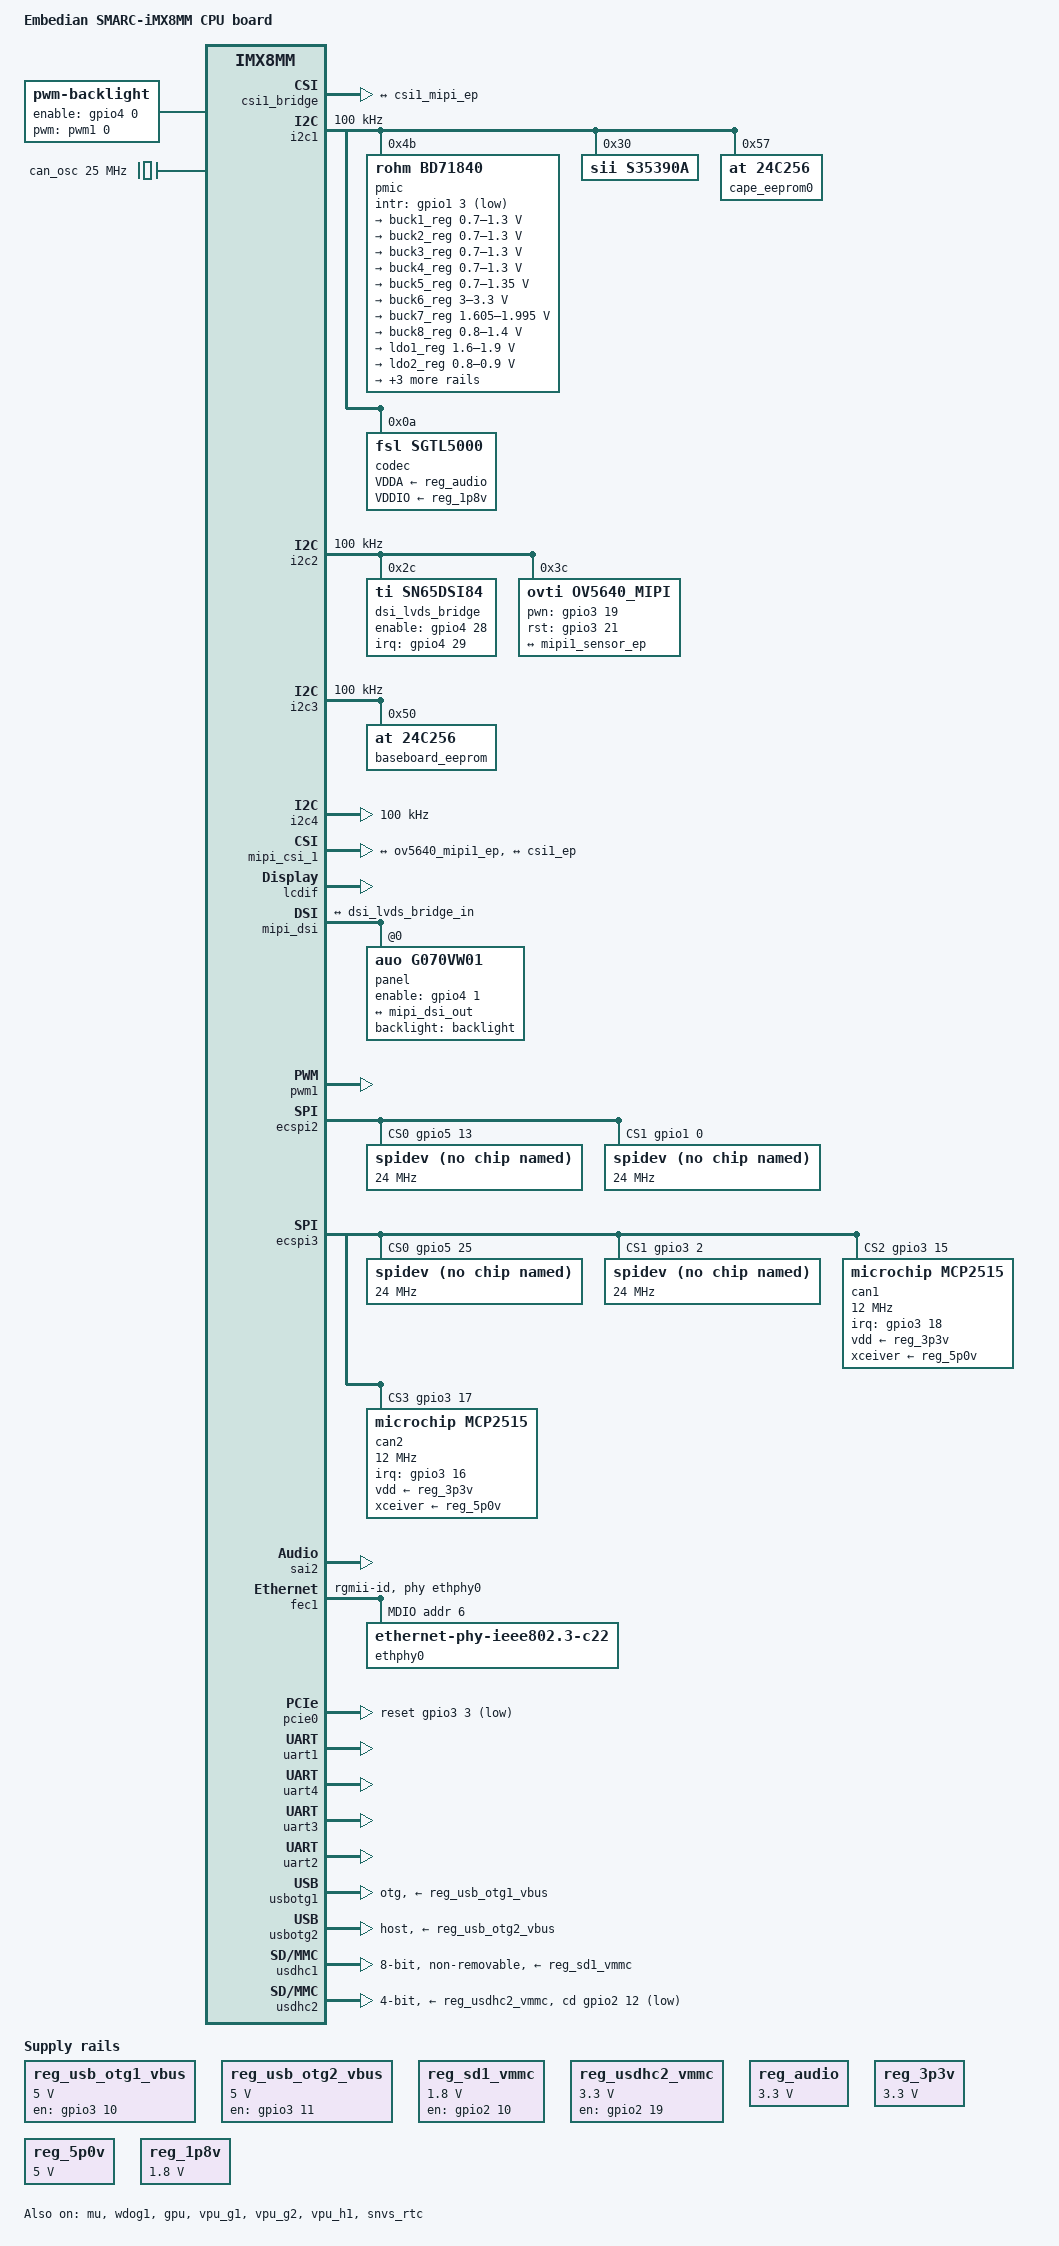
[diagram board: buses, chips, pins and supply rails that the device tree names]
/*
 * Copyright 2018 NXP
 *
 * This program is free software; you can redistribute it and/or
 * modify it under the terms of the GNU General Public License
 * as published by the Free Software Foundation; either version 2
 * of the License, or (at your option) any later version.
 *
 * This program is distributed in the hope that it will be useful,
 * but WITHOUT ANY WARRANTY; without even the implied warranty of
 * MERCHANTABILITY or FITNESS FOR A PARTICULAR PURPOSE.  See the
 * GNU General Public License for more details.
 */

/dts-v1/;

#include "../freescale/fsl-imx8mm.dtsi"

/ {
        firmware {
                android {
                        compatible = "android,firmware";
                        fstab {
                                compatible = "android,fstab";
                                vendor {
                                        compatible = "android,vendor";
                                        /* sd card node which used if androidboot.storage_type=sd */
                                        dev_sd = "/dev/block/platform/30b50000.mmc/by-name/vendor";
                                        /* emmc node which used if androidboot.storage_type=emmc */
                                        dev_emmc = "/dev/block/platform/30b60000.mmc/by-name/vendor";
                                        type = "ext4";
                                        mnt_flags = "ro,barrier=1,inode_readahead_blks=8";
                                        fsmgr_flags = "wait,slotselect,avb";
                                };
                        };
                        vbmeta {
                                /*we need use FirstStageMountVBootV2 if we enable avb*/
                                compatible = "android,vbmeta";
                                /*parts means the partition witch can be mount in first stage*/
                                parts = "vbmeta,boot,system,vendor";
                        };
                };
        };
};

/ {
	model = "Embedian SMARC-iMX8MM CPU board";
	compatible = "embedian,imx8mm-smarcimx8mm", "fsl,imx8mm";

	regulators {
		compatible = "simple-bus";
		#address-cells = <1>;
		#size-cells = <0>;

                reg_usb_otg1_vbus: usbotg1_regulator {
                        compatible = "regulator-fixed";
                        reg = <0>;
                        regulator-name = "usb_otg1_vbus";
                        regulator-min-microvolt = <5000000>;
                        regulator-max-microvolt = <5000000>;
                        gpio = <&gpio3 10 GPIO_ACTIVE_HIGH>;
                        enable-active-high;
                };

                reg_usb_otg2_vbus: usbotg2_regulator {
                        compatible = "regulator-fixed";
                        reg = <1>;
                        regulator-name = "usb_otg2_vbus";
                        regulator-min-microvolt = <5000000>;
                        regulator-max-microvolt = <5000000>;
                        gpio = <&gpio3 11 GPIO_ACTIVE_HIGH>;
                        enable-active-high;
                };

		reg_sd1_vmmc: sd1_regulator {
			compatible = "regulator-fixed";
			regulator-name = "VEMMC_1V8";
			regulator-min-microvolt = <1800000>;
			regulator-max-microvolt = <1800000>;
			gpio = <&gpio2 10 GPIO_ACTIVE_HIGH>;
			off-on-delay = <20000>;
			startup-delay-us = <100>;
			enable-active-high;
		};

		reg_usdhc2_vmmc: regulator-usdhc2 {
			compatible = "regulator-fixed";
			regulator-name = "VSD_3V3";
			regulator-min-microvolt = <3300000>;
			regulator-max-microvolt = <3300000>;
			gpio = <&gpio2 19 GPIO_ACTIVE_HIGH>;
			off-on-delay = <20000>;
			enable-active-high;
		};

		reg_audio: audio_vdd {
			compatible = "regulator-fixed";
			regulator-name = "sgtl5000_supply";
			regulator-min-microvolt = <3300000>;
			regulator-max-microvolt = <3300000>;
                        regulator-always-on;
		};

               reg_3p3v: 3p3v {
                        compatible = "regulator-fixed";
                        regulator-name = "3P3V";
                        regulator-min-microvolt = <3300000>;
                        regulator-max-microvolt = <3300000>;
                        regulator-always-on;
                };

                reg_5p0v: 5p0v {
                        compatible = "regulator-fixed";
                        regulator-name = "5P0V";
                        regulator-min-microvolt = <5000000>;
                        regulator-max-microvolt = <5000000>;
                        regulator-always-on;
                };

                reg_1p8v: 1p8v {
                        compatible = "regulator-fixed";
                        regulator-name = "1P8V";
                        regulator-min-microvolt = <1800000>;
                        regulator-max-microvolt = <1800000>;
                        regulator-always-on;
                };
	};

       	reserved-memory {
                /* cma region is provided by kernel command line as cma=<size>M */
               	/delete-node/ linux,cma;

                /delete-node/ rpmsg@0xb8000000;
                rpmsg_reserved: rpmsg@0x40000000 {
                        no-map;
                        reg = <0 0x40000000 0 0x400000>;
                };
        };

       	sound-sgtl5000 {
                compatible = "fsl,imx-audio-sgtl5000",
                             "smarc,imx8mq-audio-sgtl5000";
                model = "imx8mq-audio-sgtl5000";
                ssi-controller = <&sai2>;
                audio-codec = <&codec>;
                audio-routing =
                        "MIC_IN", "Mic Jack",
                        "Mic Jack", "Mic Bias",
                        "Headphone Jack", "HP_OUT";
                fsl,no-audmux;
        };

        backlight: backlight {
                compatible = "pwm-backlight";
                enable-gpios = <&gpio4 0 0>;    /* Backlight Enable */
                pwms = <&pwm1 0 1000000 0>;
                brightness-levels = < 0  1  2  3  4  5  6  7  8  9
                                     10 11 12 13 14 15 16 17 18 19
                                     20 21 22 23 24 25 26 27 28 29
                                     30 31 32 33 34 35 36 37 38 39
                                     40 41 42 43 44 45 46 47 48 49
                                     50 51 52 53 54 55 56 57 58 59
                                     60 61 62 63 64 65 66 67 68 69
                                     70 71 72 73 74 75 76 77 78 79
                                     80 81 82 83 84 85 86 87 88 89
                                     90 91 92 93 94 95 96 97 98 99
                                    100>;
                default-brightness-level = <80>;
                status = "okay";
        };

        /* external oscillator of mcp2515 on SPI1.2 and SPI1.3 */
        can_osc: can_osc {
                compatible = "fixed-clock";
                #clock-cells = <0>;
                clock-frequency  = <25000000>;
        };
};

&clk {
	assigned-clocks = <&clk IMX8MM_AUDIO_PLL1>, <&clk IMX8MM_AUDIO_PLL2>;
	assigned-clock-rates = <786432000>, <722534400>;
};

&iomuxc {
	pinctrl-names = "default";
        pinctrl-0 = <&pinctrl_hog>;

	smarcimx8mm {
                pinctrl_hog: hoggrp {
                        fsl,pins = <
                                MX8MM_IOMUXC_NAND_DATA06_GPIO3_IO12            	0x19    /*RESET_OUT#*/
                                MX8MM_IOMUXC_NAND_CE3_B_GPIO3_IO4              	0x41    /*FEC_IRQ#*/
                                MX8MM_IOMUXC_NAND_CLE_GPIO3_IO5                 0x41    /*PCIE_WAKE#*/
                                MX8MM_IOMUXC_GPIO1_IO09_GPIO1_IO9               0x41    /*LID#*/
                                MX8MM_IOMUXC_GPIO1_IO13_GPIO1_IO13             	0x41    /*SLEEP#*/
                                MX8MM_IOMUXC_GPIO1_IO01_GPIO1_IO1               0x41    /*CHARGING#*/
                                MX8MM_IOMUXC_GPIO1_IO12_GPIO1_IO12             	0x41    /*CHARGER_PRSNT#*/
                                MX8MM_IOMUXC_SAI3_MCLK_GPIO5_IO2                0x19    /*CARRIER_STBY#*/
                                MX8MM_IOMUXC_GPIO1_IO08_GPIO1_IO8              	0x41    /*BATLOW#*/
                                MX8MM_IOMUXC_NAND_DATA04_GPIO3_IO10             0x41    /*USB0_EN_OC#*/
                                MX8MM_IOMUXC_NAND_DATA05_GPIO3_IO11             0x41    /*USB1_EN_OC#*/
                        >;
                };

                pinctrl_csi1: csi1grp {
                        fsl,pins = <
                                MX8MM_IOMUXC_SAI5_RXFS_GPIO3_IO19               0x19    /*GPIO1*/
                                MX8MM_IOMUXC_SAI5_RXD0_GPIO3_IO21               0x19    /*GPIO3*/
                        >;
                };

		pinctrl_fec1: fec1grp {
			fsl,pins = <
				MX8MM_IOMUXC_ENET_MDC_ENET1_MDC			0x3
				MX8MM_IOMUXC_ENET_MDIO_ENET1_MDIO		0x3
				MX8MM_IOMUXC_ENET_TD3_ENET1_RGMII_TD3		0x1f
				MX8MM_IOMUXC_ENET_TD2_ENET1_RGMII_TD2		0x1f
				MX8MM_IOMUXC_ENET_TD1_ENET1_RGMII_TD1		0x1f
				MX8MM_IOMUXC_ENET_TD0_ENET1_RGMII_TD0		0x1f
				MX8MM_IOMUXC_ENET_RD3_ENET1_RGMII_RD3		0x91
				MX8MM_IOMUXC_ENET_RD2_ENET1_RGMII_RD2		0x91
				MX8MM_IOMUXC_ENET_RD1_ENET1_RGMII_RD1		0x91
				MX8MM_IOMUXC_ENET_RD0_ENET1_RGMII_RD0		0x91
				MX8MM_IOMUXC_ENET_TXC_ENET1_RGMII_TXC		0x1f
				MX8MM_IOMUXC_ENET_RXC_ENET1_RGMII_RXC		0x91
				MX8MM_IOMUXC_ENET_RX_CTL_ENET1_RGMII_RX_CTL	0x91
				MX8MM_IOMUXC_ENET_TX_CTL_ENET1_RGMII_TX_CTL	0x1f
			>;
		};

		pinctrl_flexspi0: flexspi0grp {
			fsl,pins = <
				MX8MM_IOMUXC_NAND_ALE_QSPI_A_SCLK	0x1c2
				MX8MM_IOMUXC_NAND_CE0_B_QSPI_A_SS0_B	0x82
				MX8MM_IOMUXC_NAND_DATA00_QSPI_A_DATA0	0x82
				MX8MM_IOMUXC_NAND_DATA01_QSPI_A_DATA1	0x82
				MX8MM_IOMUXC_NAND_DATA02_QSPI_A_DATA2	0x82
				MX8MM_IOMUXC_NAND_DATA03_QSPI_A_DATA3	0x82
			>;
		};

                pinctrl_usbotg1: usbotg1 {
                        fsl,pins = <
                                MX8MM_IOMUXC_GPIO1_IO10_USB1_OTG_ID     0x41
                        >;
                };

                pinctrl_usbotg2: usbotg2 {
                        fsl,pins = <
                                MX8MM_IOMUXC_GPIO1_IO11_USB2_OTG_ID     0x41
                        >;
                };

		pinctrl_i2c1: i2c1grp {
			fsl,pins = <
				MX8MM_IOMUXC_I2C1_SCL_I2C1_SCL		0x400001c3
				MX8MM_IOMUXC_I2C1_SDA_I2C1_SDA		0x400001c3
			>;
		};

		pinctrl_i2c2: i2c2grp {
			fsl,pins = <
				MX8MM_IOMUXC_I2C2_SCL_I2C2_SCL		0x400001c3
				MX8MM_IOMUXC_I2C2_SDA_I2C2_SDA		0x400001c3
			>;
		};

		pinctrl_i2c3: i2c3grp {
			fsl,pins = <
				MX8MM_IOMUXC_I2C3_SCL_I2C3_SCL		0x400001c3
				MX8MM_IOMUXC_I2C3_SDA_I2C3_SDA		0x400001c3
			>;
		};

                pinctrl_i2c4: i2c4grp {
                        fsl,pins = <
                                MX8MM_IOMUXC_I2C4_SCL_I2C4_SCL      	0x400001c3
                                MX8MM_IOMUXC_I2C4_SDA_I2C4_SDA         	0x400001c3
                        >;
                };

		pinctrl_pcie0: pcie0grp {
			fsl,pins = <
				MX8MM_IOMUXC_NAND_CE2_B_GPIO3_IO3	0x41
			>;
		};

		pinctrl_pmic: pmicirq {
			fsl,pins = <
				MX8MM_IOMUXC_GPIO1_IO03_GPIO1_IO3	0x41
			>;
		};

		pinctrl_typec1: typec1grp {
			fsl,pins = <
				MX8MM_IOMUXC_SD1_STROBE_GPIO2_IO11	0x159
			>;
		};

		pinctrl_typec2: typec2grp {
			fsl,pins = <
				MX8MM_IOMUXC_SD2_CD_B_GPIO2_IO12	0x159
			>;
		};

                pinctrl_pwm1: pwm1grp {
                        fsl,pins = <
                                MX8MM_IOMUXC_SPDIF_EXT_CLK_PWM1_OUT    	0x06
                        >;
                };

		pinctrl_sai1: sai1grp {
			fsl,pins = <
				MX8MM_IOMUXC_SAI1_MCLK_SAI1_MCLK	0xd6
				MX8MM_IOMUXC_SAI1_TXFS_SAI1_TX_SYNC	0xd6
				MX8MM_IOMUXC_SAI1_RXD7_SAI1_TX_SYNC	0xd6
				MX8MM_IOMUXC_SAI1_TXC_SAI1_TX_BCLK	0xd6
				MX8MM_IOMUXC_SAI1_TXD0_SAI1_TX_DATA0	0xd6
				MX8MM_IOMUXC_SAI1_TXD1_SAI1_TX_DATA1	0xd6
				MX8MM_IOMUXC_SAI1_TXD2_SAI1_TX_DATA2	0xd6
				MX8MM_IOMUXC_SAI1_TXD3_SAI1_TX_DATA3	0xd6
				MX8MM_IOMUXC_SAI1_TXD4_SAI1_TX_DATA4	0xd6
				MX8MM_IOMUXC_SAI1_TXD5_SAI1_TX_DATA5	0xd6
				MX8MM_IOMUXC_SAI1_TXD6_SAI1_TX_DATA6	0xd6
				MX8MM_IOMUXC_SAI1_TXD7_SAI1_TX_DATA7	0xd6
			>;
		};

		pinctrl_sai1_dsd: sai1grp_dsd {
			fsl,pins = <
				MX8MM_IOMUXC_SAI1_MCLK_SAI1_MCLK	0xd6
				MX8MM_IOMUXC_SAI1_TXFS_SAI1_TX_SYNC	0xd6
				MX8MM_IOMUXC_SAI1_RXD7_SAI1_TX_DATA4	0xd6
				MX8MM_IOMUXC_SAI1_TXC_SAI1_TX_BCLK	0xd6
				MX8MM_IOMUXC_SAI1_TXD0_SAI1_TX_DATA0	0xd6
				MX8MM_IOMUXC_SAI1_TXD1_SAI1_TX_DATA1	0xd6
				MX8MM_IOMUXC_SAI1_TXD2_SAI1_TX_DATA2	0xd6
				MX8MM_IOMUXC_SAI1_TXD3_SAI1_TX_DATA3	0xd6
				MX8MM_IOMUXC_SAI1_TXD4_SAI1_TX_DATA4	0xd6
				MX8MM_IOMUXC_SAI1_TXD5_SAI1_TX_DATA5	0xd6
				MX8MM_IOMUXC_SAI1_TXD6_SAI1_TX_DATA6	0xd6
				MX8MM_IOMUXC_SAI1_TXD7_SAI1_TX_DATA7	0xd6
			>;
		};


                pinctrl_sai2: sai2grp {
                        fsl,pins = <
                                MX8MM_IOMUXC_SAI2_TXFS_SAI2_TX_SYNC     0xd6
                                MX8MM_IOMUXC_SAI2_TXC_SAI2_TX_BCLK      0xd6
                                MX8MM_IOMUXC_SAI2_MCLK_SAI2_MCLK        0xd6
                                MX8MM_IOMUXC_SAI2_TXD0_SAI2_TX_DATA0   	0xd6
                                MX8MM_IOMUXC_SAI2_RXD0_SAI2_RX_DATA0   	0xd6
                        >;
                };

		pinctrl_sai3: sai3grp {
			fsl,pins = <
				MX8MM_IOMUXC_SAI3_TXFS_SAI3_TX_SYNC     0xd6
				MX8MM_IOMUXC_SAI3_TXC_SAI3_TX_BCLK      0xd6
				MX8MM_IOMUXC_SAI3_MCLK_SAI3_MCLK        0xd6
				MX8MM_IOMUXC_SAI3_TXD_SAI3_TX_DATA0     0xd6
				MX8MM_IOMUXC_I2C4_SDA_GPIO5_IO21        0xd6
			>;
		};

		pinctrl_sai5: sai5grp {
			fsl,pins = <
				MX8MM_IOMUXC_SAI5_MCLK_SAI5_MCLK	0xd6
				MX8MM_IOMUXC_SAI5_RXC_SAI5_RX_BCLK	0xd6
				MX8MM_IOMUXC_SAI5_RXFS_SAI5_RX_SYNC	0xd6
				MX8MM_IOMUXC_SAI5_RXD0_SAI5_RX_DATA0	0xd6
				MX8MM_IOMUXC_SAI5_RXD1_SAI5_RX_DATA1    0xd6
				MX8MM_IOMUXC_SAI5_RXD2_SAI5_RX_DATA2    0xd6
				MX8MM_IOMUXC_SAI5_RXD3_SAI5_RX_DATA3    0xd6
			>;
		};

		pinctrl_pdm: pdmgrp {
			fsl,pins = <
				MX8MM_IOMUXC_SAI5_MCLK_SAI5_MCLK	0xd6
				MX8MM_IOMUXC_SAI5_RXC_PDM_CLK		0xd6
				MX8MM_IOMUXC_SAI5_RXFS_SAI5_RX_SYNC	0xd6
				MX8MM_IOMUXC_SAI5_RXD0_PDM_DATA0	0xd6
				MX8MM_IOMUXC_SAI5_RXD1_PDM_DATA1	0xd6
				MX8MM_IOMUXC_SAI5_RXD2_PDM_DATA2	0xd6
				MX8MM_IOMUXC_SAI5_RXD3_PDM_DATA3	0xd6
			>;
		};

		pinctrl_spdif1: spdif1grp {
			fsl,pins = <
				MX8MM_IOMUXC_SPDIF_TX_SPDIF1_OUT	0xd6
				MX8MM_IOMUXC_SPDIF_RX_SPDIF1_IN		0xd6
			>;
		};

		pinctrl_uart1: uart1grp {
			fsl,pins = <
				MX8MM_IOMUXC_SAI2_RXC_UART1_DCE_RX	0x140
				MX8MM_IOMUXC_SAI2_RXFS_UART1_DCE_TX	0x140
				MX8MM_IOMUXC_UART3_TXD_UART1_DCE_RTS_B	0x140
				MX8MM_IOMUXC_UART3_RXD_UART1_DCE_CTS_B	0x140
			>;
		};

                pinctrl_uart4: uart4grp {
                        fsl,pins = <
                                MX8MM_IOMUXC_UART4_RXD_UART4_DCE_RX     0x140
                                MX8MM_IOMUXC_UART4_TXD_UART4_DCE_TX     0x140
                        >;
                };

                pinctrl_uart3: uart3grp {
                        fsl,pins = <
                                MX8MM_IOMUXC_ECSPI1_SCLK_UART3_DCE_RX           0x140
                                MX8MM_IOMUXC_ECSPI1_MOSI_UART3_DCE_TX           0x140
                                MX8MM_IOMUXC_ECSPI1_SS0_UART3_DCE_RTS_B         0x140
                                MX8MM_IOMUXC_ECSPI1_MISO_UART3_DCE_CTS_B        0x140
                        >;
                };

		pinctrl_uart2: uart2grp {
			fsl,pins = <
				MX8MM_IOMUXC_SAI3_TXFS_UART2_DCE_RX	0x140
				MX8MM_IOMUXC_SAI3_TXC_UART2_DCE_TX	0x140
			>;
		};

		pinctrl_usdhc1: usdhc1grp {
			fsl,pins = <
				MX8MM_IOMUXC_SD1_CLK_USDHC1_CLK		0x190
				MX8MM_IOMUXC_SD1_CMD_USDHC1_CMD		0x1d0
				MX8MM_IOMUXC_SD1_DATA0_USDHC1_DATA0	0x1d0
				MX8MM_IOMUXC_SD1_DATA1_USDHC1_DATA1	0x1d0
				MX8MM_IOMUXC_SD1_DATA2_USDHC1_DATA2	0x1d0
				MX8MM_IOMUXC_SD1_DATA3_USDHC1_DATA3	0x1d0
                                MX8MM_IOMUXC_SD1_DATA5_USDHC1_DATA5     0x1d0
                                MX8MM_IOMUXC_SD1_DATA6_USDHC1_DATA6     0x1d0
                                MX8MM_IOMUXC_SD1_DATA7_USDHC1_DATA7     0x1d0
                                MX8MM_IOMUXC_SD1_STROBE_USDHC1_STROBE  	0x190
                                MX8MM_IOMUXC_SD1_RESET_B_GPIO2_IO10     0x41
			>;
		};

		pinctrl_usdhc1_100mhz: usdhc1grp100mhz {
			fsl,pins = <
                                MX8MM_IOMUXC_SD1_CLK_USDHC1_CLK         0x194
                                MX8MM_IOMUXC_SD1_CMD_USDHC1_CMD         0x1d4
                                MX8MM_IOMUXC_SD1_DATA0_USDHC1_DATA0     0x1d4
                                MX8MM_IOMUXC_SD1_DATA1_USDHC1_DATA1     0x1d4
                                MX8MM_IOMUXC_SD1_DATA2_USDHC1_DATA2     0x1d4
                                MX8MM_IOMUXC_SD1_DATA3_USDHC1_DATA3     0x1d4
                                MX8MM_IOMUXC_SD1_DATA5_USDHC1_DATA5     0x1d4
                                MX8MM_IOMUXC_SD1_DATA6_USDHC1_DATA6     0x1d4
                                MX8MM_IOMUXC_SD1_DATA7_USDHC1_DATA7     0x1d4
                                MX8MM_IOMUXC_SD1_STROBE_USDHC1_STROBE   0x194
				MX8MM_IOMUXC_SD1_RESET_B_GPIO2_IO10	0x41
			>;
		};

		pinctrl_usdhc1_200mhz: usdhc1grp200mhz {
			fsl,pins = <
                                MX8MM_IOMUXC_SD1_CLK_USDHC1_CLK         0x196
                                MX8MM_IOMUXC_SD1_CMD_USDHC1_CMD         0x1d6
                                MX8MM_IOMUXC_SD1_DATA0_USDHC1_DATA0     0x1d6
                                MX8MM_IOMUXC_SD1_DATA1_USDHC1_DATA1     0x1d6
                                MX8MM_IOMUXC_SD1_DATA2_USDHC1_DATA2     0x1d6
                                MX8MM_IOMUXC_SD1_DATA3_USDHC1_DATA3     0x1d6
                                MX8MM_IOMUXC_SD1_DATA5_USDHC1_DATA5     0x1d6
                                MX8MM_IOMUXC_SD1_DATA6_USDHC1_DATA6     0x1d6
                                MX8MM_IOMUXC_SD1_DATA7_USDHC1_DATA7     0x1d6
                                MX8MM_IOMUXC_SD1_STROBE_USDHC1_STROBE   0x196
                                MX8MM_IOMUXC_SD1_RESET_B_GPIO2_IO10     0x41
			>;
		};

		pinctrl_usdhc2_gpio: usdhc2grpgpio {
			fsl,pins = <
				MX8MM_IOMUXC_SD2_CD_B_GPIO2_IO12	0x41
				MX8MM_IOMUXC_SD2_RESET_B_GPIO2_IO19	0x41
			>;
		};

		pinctrl_usdhc2: usdhc2grp {
			fsl,pins = <
				MX8MM_IOMUXC_SD2_CLK_USDHC2_CLK		0x190
				MX8MM_IOMUXC_SD2_CMD_USDHC2_CMD		0x1d0
				MX8MM_IOMUXC_SD2_DATA0_USDHC2_DATA0	0x1d0
				MX8MM_IOMUXC_SD2_DATA1_USDHC2_DATA1	0x1d0
				MX8MM_IOMUXC_SD2_DATA2_USDHC2_DATA2	0x1d0
				MX8MM_IOMUXC_SD2_DATA3_USDHC2_DATA3	0x1d0
				MX8MM_IOMUXC_GPIO1_IO04_USDHC2_VSELECT	0x1d0
			>;
		};

		pinctrl_usdhc2_100mhz: usdhc2grp100mhz {
			fsl,pins = <
				MX8MM_IOMUXC_SD2_CLK_USDHC2_CLK		0x194
				MX8MM_IOMUXC_SD2_CMD_USDHC2_CMD		0x1d4
				MX8MM_IOMUXC_SD2_DATA0_USDHC2_DATA0	0x1d4
				MX8MM_IOMUXC_SD2_DATA1_USDHC2_DATA1	0x1d4
				MX8MM_IOMUXC_SD2_DATA2_USDHC2_DATA2	0x1d4
				MX8MM_IOMUXC_SD2_DATA3_USDHC2_DATA3	0x1d4
				MX8MM_IOMUXC_GPIO1_IO04_USDHC2_VSELECT	0x1d0
			>;
		};

		pinctrl_usdhc2_200mhz: usdhc2grp200mhz {
			fsl,pins = <
				MX8MM_IOMUXC_SD2_CLK_USDHC2_CLK		0x196
				MX8MM_IOMUXC_SD2_CMD_USDHC2_CMD		0x1d6
				MX8MM_IOMUXC_SD2_DATA0_USDHC2_DATA0	0x1d6
				MX8MM_IOMUXC_SD2_DATA1_USDHC2_DATA1	0x1d6
				MX8MM_IOMUXC_SD2_DATA2_USDHC2_DATA2	0x1d6
				MX8MM_IOMUXC_SD2_DATA3_USDHC2_DATA3	0x1d6
				MX8MM_IOMUXC_GPIO1_IO04_USDHC2_VSELECT	0x1d0
			>;
		};

		pinctrl_wdog: wdoggrp {
			fsl,pins = <
				MX8MM_IOMUXC_GPIO1_IO02_WDOG1_WDOG_B	0xc6
			>;
		};

                pinctrl_ecspi2: ecspi2grp {
                        fsl,pins = <
                                MX8MM_IOMUXC_ECSPI2_SCLK_ECSPI2_SCLK  	0x13
                                MX8MM_IOMUXC_ECSPI2_MOSI_ECSPI2_MOSI   	0x13
                                MX8MM_IOMUXC_ECSPI2_MISO_ECSPI2_MISO   	0x13
                                MX8MM_IOMUXC_ECSPI2_SS0_GPIO5_IO13     	0x13
                                MX8MM_IOMUXC_GPIO1_IO00_GPIO1_IO0      	0x13
                        >;
                };

                pinctrl_ecspi3: ecspi3grp {
                        fsl,pins = <
                                MX8MM_IOMUXC_UART1_RXD_ECSPI3_SCLK     	0x13
                                MX8MM_IOMUXC_UART1_TXD_ECSPI3_MOSI     	0x13
                                MX8MM_IOMUXC_UART2_RXD_ECSPI3_MISO    	0x13
                                MX8MM_IOMUXC_UART2_TXD_GPIO5_IO25      	0x13
                                MX8MM_IOMUXC_NAND_CE1_B_GPIO3_IO2     	0x13
                                MX8MM_IOMUXC_NAND_RE_B_GPIO3_IO15     	0x13
				MX8MM_IOMUXC_NAND_WE_B_GPIO3_IO17	0x13
                        >;
                };

                pinctrl_lvds: lvdsgrp {
                        fsl,pins = <
                                MX8MM_IOMUXC_NAND_DATA07_GPIO3_IO13   	0x16
                        >;
                };
	};
};

&csi1_bridge {
	fsl,mipi-mode;
	status = "okay";
	port {
		csi1_ep: endpoint {
			remote-endpoint = <&csi1_mipi_ep>;
		};
	};
};

&i2c1 {
	clock-frequency = <100000>;
	pinctrl-names = "default";
	pinctrl-0 = <&pinctrl_i2c1>;
	status = "okay";

	pmic: bd71837@4b {
		reg = <0x4b>;
		compatible = "rohm,bd71840", "rohm,bd71837";
		/* PMIC BD71837 PMIC_nINT GPIO1_IO3 */
		pinctrl-0 = <&pinctrl_pmic>;
		gpio_intr = <&gpio1 3 GPIO_ACTIVE_LOW>;

		gpo {
			rohm,drv = <0x0C>;	/* 0b0000_1100 all gpos with cmos output mode */
		};

		regulators {
			#address-cells = <1>;
			#size-cells = <0>;

			bd71837,pmic-buck2-uses-i2c-dvs;
			bd71837,pmic-buck2-dvs-voltage = <1000000>, <900000>, <0>; /* VDD_ARM: Run-Idle */

			buck1_reg: regulator@0 {
				reg = <0>;
				regulator-compatible = "buck1";
				regulator-min-microvolt = <700000>;
				regulator-max-microvolt = <1300000>;
				regulator-boot-on;
				regulator-always-on;
				regulator-ramp-delay = <1250>;
			};

			buck2_reg: regulator@1 {
				reg = <1>;
				regulator-compatible = "buck2";
				regulator-min-microvolt = <700000>;
				regulator-max-microvolt = <1300000>;
				regulator-boot-on;
				regulator-always-on;
				regulator-ramp-delay = <1250>;
			};

			buck3_reg: regulator@2 {
				reg = <2>;
				regulator-compatible = "buck3";
				regulator-min-microvolt = <700000>;
				regulator-max-microvolt = <1300000>;
			};

			buck4_reg: regulator@3 {
				reg = <3>;
				regulator-compatible = "buck4";
				regulator-min-microvolt = <700000>;
				regulator-max-microvolt = <1300000>;
			};

			buck5_reg: regulator@4 {
				reg = <4>;
				regulator-compatible = "buck5";
				regulator-min-microvolt = <700000>;
				regulator-max-microvolt = <1350000>;
				regulator-boot-on;
				regulator-always-on;
			};

			buck6_reg: regulator@5 {
				reg = <5>;
				regulator-compatible = "buck6";
				regulator-min-microvolt = <3000000>;
				regulator-max-microvolt = <3300000>;
				regulator-boot-on;
				regulator-always-on;
			};

			buck7_reg: regulator@6 {
				reg = <6>;
				regulator-compatible = "buck7";
				regulator-min-microvolt = <1605000>;
				regulator-max-microvolt = <1995000>;
				regulator-boot-on;
				regulator-always-on;
			};

			buck8_reg: regulator@7 {
				reg = <7>;
				regulator-compatible = "buck8";
				regulator-min-microvolt = <800000>;
				regulator-max-microvolt = <1400000>;
				regulator-boot-on;
				regulator-always-on;
			};

			ldo1_reg: regulator@8 {
				reg = <8>;
				regulator-compatible = "ldo1";
				regulator-min-microvolt = <1600000>;
				regulator-max-microvolt = <1900000>;
				regulator-boot-on;
				regulator-always-on;
			};

			ldo2_reg: regulator@9 {
				reg = <9>;
				regulator-compatible = "ldo2";
				regulator-min-microvolt = <800000>;
				regulator-max-microvolt = <900000>;
				regulator-boot-on;
				regulator-always-on;
			};

			ldo3_reg: regulator@10 {
				reg = <10>;
				regulator-compatible = "ldo3";
				regulator-min-microvolt = <1800000>;
				regulator-max-microvolt = <3300000>;
				regulator-boot-on;
				regulator-always-on;
			};

			ldo4_reg: regulator@11 {
				reg = <11>;
				regulator-compatible = "ldo4";
				regulator-min-microvolt = <900000>;
				regulator-max-microvolt = <1800000>;
				regulator-boot-on;
				regulator-always-on;
			};

			ldo6_reg: regulator@13 {
				reg = <13>;
				regulator-compatible = "ldo6";
				regulator-min-microvolt = <900000>;
				regulator-max-microvolt = <1800000>;
				regulator-boot-on;
				regulator-always-on;
			};
		};
	};

       	s35390a: s35390a@30 {
                compatible = "sii,s35390a";
                reg = <0x30>;
        };

        cape_eeprom0: cape_eeprom@57 {
                compatible = "at,24c256";
                reg = <0x57>;
        };

        codec: sgtl5000@0a {
                compatible = "fsl,sgtl5000";
                reg = <0x0a>;
                clocks = <&clk IMX8MM_CLK_SAI2_ROOT>;
                clock-names = "mclk";
                VDDA-supply = <&reg_audio>;
                VDDIO-supply = <&reg_1p8v>;
                status = "okay";
        };
};

&i2c2 {
	clock-frequency = <100000>;
	pinctrl-names = "default";
	pinctrl-0 = <&pinctrl_i2c2>;
	status = "okay";

        dsi_lvds_bridge: sn65dsi84@2c {
                status = "okay";
                reg = <0x2c>;
                compatible = "ti,sn65dsi84";
                enable-gpios = <&gpio4 28 GPIO_ACTIVE_HIGH>;
                interrupt-parent = <&gpio4>;
                interrupts = <29 IRQ_TYPE_EDGE_FALLING>;

                /* AUO G070VW01 7-inch 800x480 LVDS Display */
               	sn65dsi84,addresses = < 0x09 0x0A 0x0B 0x0D 0x10 0x11 0x12 0x13
                                        0x18 0x19 0x1A 0x1B 0x20 0x21 0x22 0x23
                                        0x24 0x25 0x26 0x27 0x28 0x29 0x2A 0x2B
                                        0x2C 0x2D 0x2E 0x2F 0x30 0x31 0x32 0x33
                                        0x34 0x35 0x36 0x37 0x38 0x39 0x3A 0x3B
                                        0x3C 0x3D 0x3E 0xE0 0x0D>;

                sn65dsi84,values =    < 0x00 0x01 0x10 0x00 0x26 0x00 0x13 0x00
                                        0x78 0x00 0x03 0x00 0x20 0x03 0x00 0x00
                                        0x00 0x00 0x00 0x00 0x21 0x00 0x00 0x00
                                        0x80 0x00 0x00 0x00 0x0e 0x00 0x00 0x00
                                        0x40 0x00 0x00 0x00 0x00 0x00 0x00 0x00
                                        0x00 0x00 0x00 0x01 0x01>;

                /* AUO G185XW01 18.5-inch 1366x768 LVDS Display */
               	/*sn65dsi84,addresses = < 0x09 0x0A 0x0B 0x0D 0x10 0x11 0x12 0x13
                                        0x18 0x19 0x1A 0x1B 0x20 0x21 0x22 0x23
                                        0x24 0x25 0x26 0x27 0x28 0x29 0x2A 0x2B
                                        0x2C 0x2D 0x2E 0x2F 0x30 0x31 0x32 0x33
                                        0x34 0x35 0x36 0x37 0x38 0x39 0x3A 0x3B
                                        0x3C 0x3D 0x3E 0xE0 0x0D>;

                sn65dsi84,values =    < 0x00 0x05 0x10 0x00 0x26 0x00 0x2E 0x00
                                        0x78 0x00 0x03 0x00 0x56 0x05 0x00 0x00
                                        0x00 0x00 0x00 0x00 0x21 0x00 0x00 0x00
                                        0x78 0x00 0x00 0x00 0x12 0x00 0x00 0x00
                                        0x3C 0x00 0x00 0x00 0x00 0x00 0x00 0x00
                                        0x00 0x00 0x00 0x01 0x01>;*/

                /* AUO G240HW01 V0 24-inch 1920x1080 LVDS Display */
               	/*sn65dsi84,addresses = < 0x09 0x0A 0x0B 0x0D 0x10 0x11 0x12 0x13
                                        0x18 0x19 0x1A 0x1B 0x20 0x21 0x22 0x23
                                        0x24 0x25 0x26 0x27 0x28 0x29 0x2A 0x2B
                                        0x2C 0x2D 0x2E 0x2F 0x30 0x31 0x32 0x33
                                        0x34 0x35 0x36 0x37 0x38 0x39 0x3A 0x3B
                                        0x3C 0x3D 0x3E 0xE0 0x0D>;

                sn65dsi84,values =    < 0x00 0x05 0x20 0x00 0x26 0x00 0x4E 0x00
                                        0x6C 0x00 0x03 0x00 0x80 0x07 0x00 0x00
                                        0x00 0x00 0x00 0x00 0xC3 0x00 0x00 0x00
                                        0x32 0x00 0x00 0x00 0x14 0x00 0x00 0x00
                                        0x19 0x00 0x00 0x00 0x00 0x00 0x00 0x00
                                        0x00 0x00 0x00 0x01 0x01>;*/
        };

        ov5640_mipi: ov5640_mipi@3c {
                compatible = "ovti,ov5640_mipi";
                reg = <0x3c>;
                status = "okay";
                pinctrl-names = "default";
                pinctrl-0 = <&pinctrl_csi1>;
                clocks = <&clk IMX8MM_CLK_CLKO1_DIV>;
                clock-names = "csi_mclk";
                assigned-clocks = <&clk IMX8MM_CLK_CLKO1_SRC>,
                                  <&clk IMX8MM_CLK_CLKO1_DIV>;
                assigned-clock-parents = <&clk IMX8MM_CLK_24M>;
                assigned-clock-rates = <0>, <24000000>;
                csi_id = <0>;
                pwn-gpios = <&gpio3 19 GPIO_ACTIVE_HIGH>;	/* GPIO1 */
		rst-gpios = <&gpio3 21 GPIO_ACTIVE_HIGH>;       /* GPIO3 */
                mclk = <24000000>;
                mclk_source = <0>;
                port {
                        ov5640_mipi1_ep: endpoint {
                                remote-endpoint = <&mipi1_sensor_ep>;
                        };
                };
        };
};

&i2c3 {
        clock-frequency = <100000>;
        pinctrl-names = "default";
        pinctrl-0 = <&pinctrl_i2c3>;
        status = "okay";

        baseboard_eeprom: baseboard_eeprom@50 {
                compatible = "at,24c256";
                reg = <0x50>;
        };
};

&i2c4 {
        clock-frequency = <100000>;
        pinctrl-names = "default";
        pinctrl-0 = <&pinctrl_i2c4>;
        status = "okay";
};

&mipi_csi_1 {
	#address-cells = <1>;
	#size-cells = <0>;
	status = "okay";
	port {
		mipi1_sensor_ep: endpoint1 {
			remote-endpoint = <&ov5640_mipi1_ep>;
			data-lanes = <4>;
			csis-hs-settle = <13>;
			csis-clk-settle = <2>;
			csis-wclk;
		};

		csi1_mipi_ep: endpoint2 {
			remote-endpoint = <&csi1_ep>;
		};
	};
};

&lcdif {
	status = "okay";
};

&mipi_dsi {
	status = "okay";

        panel@0 {
                reg = <0>;
                status = "okay";
                /* AUO G070VW01 800x480 LVDS Display */
               	compatible = "auo,g070vw01";
                /* AUO G185XW01 1366x768 LVDS Display */
               	/*compatible = "auo,g185xw01";*/
                /* AUO G240HW01 1920x1080 LVDS Display */
               	/*compatible = "auo,g240hw01";*/
                backlight = <&backlight>;
                enable-gpios = <&gpio4 1 0>;    /* Enable LCD_VDD_EN pin */
                dsi-lanes = <4>;
                /* AUO G070VW01 800x480 LVDS Display */
               	panel-width-mm  = <152>;
                panel-height-mm = <91>;
                /* AUO G185XW01 1366x768 LVDS Display */
               	/*panel-width-mm  = <410>;
                panel-height-mm = <230>;*/
                /* AUO G240HW01 1920x1080 LVDS Display */
               	/*panel-width-mm  = <531>;
                panel-height-mm = <299>;*/

                delay,prepare = <120>;

                port {
                        dsi_lvds_bridge_in: endpoint {
                                remote-endpoint = <&mipi_dsi_out>;
                        };
                };
        };

	port@1 {
		mipi_dsi_out: endpoint {
			remote-endpoint = <&dsi_lvds_bridge_in>;
		};
	};
};

&pwm1 {
        status = "okay";
        pinctrl-names = "default";
        pinctrl-0 = <&pinctrl_pwm1>;
};

&ecspi2 {
        #address-cells = <1>;
        #size-cells = <0>;
        pinctrl-names = "default";
        pinctrl-0 = <&pinctrl_ecspi2>;
        cs-gpios = <&gpio5 13 0>, <&gpio1 0 0>;
        fsl,spi-num-chipselects = <2>;
        status = "okay";

        spidev@0 {
                compatible = "rohm,dh2228fv";
                reg = <0>;
                spi-max-frequency = <24000000>;
                };

        spidev@1 {
                compatible = "rohm,dh2228fv";
                reg = <1>;
                spi-max-frequency = <24000000>;
                };
};


&ecspi3 {
        #address-cells = <1>;
        #size-cells = <0>;
        pinctrl-names = "default";
        pinctrl-0 = <&pinctrl_ecspi3>;
        cs-gpios = <&gpio5 25 0>, <&gpio3 2 0>, <&gpio3 15 0>, <&gpio3 17 0>;
        fsl,spi-num-chipselects = <4>;
        status = "okay";

        spidev@0 {
                compatible = "rohm,dh2228fv";
                reg = <0>;
                spi-max-frequency = <24000000>;
                };

        spidev@1 {
                compatible = "rohm,dh2228fv";
                reg = <1>;
                spi-max-frequency = <24000000>;
                };

        can1: can@2 {
                compatible = "microchip,mcp2515";
                reg = <2>;
               	interrupt-parent = <&gpio3>;
               	interrupts = <18 IRQ_TYPE_EDGE_FALLING>;
                spi-max-frequency = <12000000>;
                clocks = <&can_osc>;
                vdd-supply = <&reg_3p3v>;
                xceiver-supply = <&reg_5p0v>;
        };

        can2: can@3 {
                compatible = "microchip,mcp2515";
                reg = <3>;
               	interrupt-parent = <&gpio3>;
               	interrupts = <16 IRQ_TYPE_EDGE_FALLING>;
                spi-max-frequency = <12000000>;
                clocks = <&can_osc>;
                vdd-supply = <&reg_3p3v>;
                xceiver-supply = <&reg_5p0v>;
        };
};

&mu {
	status = "okay";
};

&sai2 {
	pinctrl-names = "default";
	pinctrl-0 = <&pinctrl_sai2>;
	assigned-clocks = <&clk IMX8MM_CLK_SAI2_DIV>;
	assigned-clock-parents = <&clk IMX8MM_AUDIO_PLL1_OUT>;
	assigned-clock-rates = <24576000>;
	status = "okay";
};

&fec1 {
	pinctrl-names = "default";
	pinctrl-0 = <&pinctrl_fec1>;
	phy-mode = "rgmii-id";
	phy-handle = <&ethphy0>;
	fsl,magic-packet;
	status = "okay";

	mdio {
		#address-cells = <1>;
		#size-cells = <0>;

		ethphy0: ethernet-phy@0 {
			compatible = "ethernet-phy-ieee802.3-c22";
			reg = <6>;
			at803x,led-act-blind-workaround;
			at803x,eee-okay;
			at803x,vddio-1p8v;
		};
	};
};

&pcie0{
	pinctrl-names = "default";
	pinctrl-0 = <&pinctrl_pcie0>;
	reset-gpio = <&gpio3 3 GPIO_ACTIVE_LOW>;
	ext_osc = <1>;
	status = "okay";
};

/* SER0 */
&uart1 {
	pinctrl-names = "default";
	pinctrl-0 = <&pinctrl_uart1>;
	assigned-clocks = <&clk IMX8MM_CLK_UART1_SRC>;
	assigned-clock-parents = <&clk IMX8MM_SYS_PLL1_80M>;
	fsl,uart-has-rtscts;
	status = "okay";
};

/* SER1 */
&uart4 {
	pinctrl-names = "default";
	pinctrl-0 = <&pinctrl_uart4>;
	status = "okay";
};

/* SER2 */
&uart3 {
	pinctrl-names = "default";
	pinctrl-0 = <&pinctrl_uart3>;
	assigned-clocks = <&clk IMX8MM_CLK_UART3_SRC>;
	assigned-clock-parents = <&clk IMX8MM_SYS_PLL1_80M>;
	fsl,uart-has-rtscts;
	status = "okay";
};

/* SER3 */
&uart2 { /* console */
        pinctrl-names = "default";
        pinctrl-0 = <&pinctrl_uart2>;
        status = "okay";
};

&usbotg1 {
        pinctrl-names = "default";
        pinctrl-0 = <&pinctrl_usbotg1>;
        vbus-supply = <&reg_usb_otg1_vbus>;
	dr_mode = "otg";
	picophy,pre-emp-curr-control = <3>;
	picophy,dc-vol-level-adjust = <7>;
	status = "okay";
};

&usbotg2 {
        pinctrl-names = "default";
        pinctrl-0 = <&pinctrl_usbotg2>;
        vbus-supply = <&reg_usb_otg2_vbus>;
	dr_mode = "host";
	picophy,pre-emp-curr-control = <3>;
	picophy,dc-vol-level-adjust = <7>;
	status = "okay";
};

/* eMMC */
&usdhc1 {
	pinctrl-names = "default", "state_100mhz", "state_200mhz";
	pinctrl-0 = <&pinctrl_usdhc1>;
	pinctrl-1 = <&pinctrl_usdhc1_100mhz>;
	pinctrl-2 = <&pinctrl_usdhc1_200mhz>;
	bus-width = <8>;
	vmmc-supply = <&reg_sd1_vmmc>;
	non-removable;
	status = "okay";
};

&usdhc2 {
	/*pinctrl-names = "default", "state_100mhz", "state_200mhz";
	pinctrl-0 = <&pinctrl_usdhc2>, <&pinctrl_usdhc2_gpio>;
	pinctrl-1 = <&pinctrl_usdhc2_100mhz>, <&pinctrl_usdhc2_gpio>;
	pinctrl-2 = <&pinctrl_usdhc2_200mhz>, <&pinctrl_usdhc2_gpio>;*/
        pinctrl-names = "default";
        pinctrl-0 = <&pinctrl_usdhc2>, <&pinctrl_usdhc2_gpio>;
	cd-gpios = <&gpio2 12 GPIO_ACTIVE_LOW>;
	bus-width = <4>;
	vmmc-supply = <&reg_usdhc2_vmmc>;
	status = "okay";
};

&wdog1 {
	pinctrl-names = "default";
	pinctrl-0 = <&pinctrl_wdog>;
	fsl,ext-reset-output;
	status = "okay";
};

&A53_0 {
	arm-supply = <&buck2_reg>;
};

&gpu {
	status = "okay";
};

&vpu_g1 {
	status = "okay";
};

&vpu_g2 {
	status = "okay";
};

&vpu_h1 {
	status = "okay";
};

&snvs_rtc {
        status = "okay";
};

&crypto {
       status = "disabled";
};
